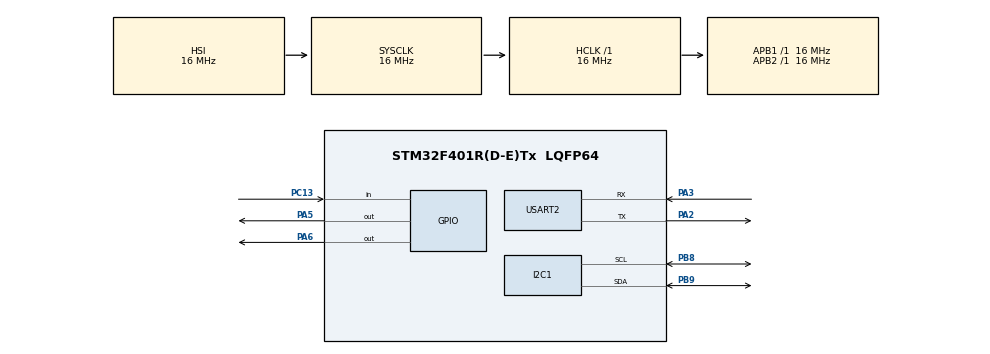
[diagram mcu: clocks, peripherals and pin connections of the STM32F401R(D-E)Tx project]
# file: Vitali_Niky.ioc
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Mcu.Family=STM32F4
Mcu.Name=STM32F401R(D-E)Tx
Mcu.Package=LQFP64
NVIC.PriorityGroup=NVIC_PRIORITYGROUP_4
PA2.Mode=Asynchronous
PA2.Signal=USART2_TX
PA3.Mode=Asynchronous
PA3.Signal=USART2_RX
PA5.Signal=GPIO_Output
PA6.Signal=GPIO_Output
PB8.Mode=I2C
PB8.Signal=I2C1_SCL
PB9.Mode=I2C
PB9.Signal=I2C1_SDA
PC13-ANTI_TAMP.Signal=GPIO_Input
ProjectManager.HeapSize=0x200
ProjectManager.StackSize=0x400
ProjectManager.TargetToolchain=STM32CubeIDE
RCC.AHBFreq_Value=16000000
RCC.APB1Freq_Value=16000000
RCC.APB2Freq_Value=16000000
RCC.CortexFreq_Value=16000000
RCC.HSE_VALUE=25000000
RCC.HSI_VALUE=16000000
RCC.LSE_VALUE=32768
RCC.SYSCLKFreq_VALUE=16000000
RCC.VCOOutputFreq_Value=192000000
USART2.VirtualMode=VM_ASYNC
board=custom

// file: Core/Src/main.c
/* USER CODE BEGIN Header */
/**
  ******************************************************************************
  * @file           : main.c
  * @brief          : Main program body
  ******************************************************************************
  * @attention
  *
  * Copyright (c) 2025 STMicroelectronics.
  * All rights reserved.
  *
  * This software is licensed under terms that can be found in the LICENSE file
  * in the root directory of this software component.
  * If no LICENSE file comes with this software, it is provided AS-IS.
  *
  ******************************************************************************
  */
/* USER CODE END Header */
#include "main.h"

/* USER CODE BEGIN Includes */
#include <string.h>  // Per strcmp
//#include "morse_io_utils.h"
//#include "morse_utils.h"
#include "lcd_i2c.h"
#include "Morse.h"

/* USER CODE END Includes */

I2C_HandleTypeDef hi2c1;

UART_HandleTypeDef huart2;

/* USER CODE BEGIN PV */
/*DEFINIZIONE CASI SWITCH INIZIALE*/
typedef enum {
	STATO_DURATION = 0,
    STATO_SETTINGS,
    STATO_LETTERS_TO_MORSE,
    STATO_MORSE_TO_LETTERS
} StatoPrincipale;

/*DEFINIZIONE CASI SWITCH LETTER2MORSE*/
typedef enum {
    STATO_MENU = 0,
    STATO_MORSE_LED,
    STATO_MORSE_BUZZER,
    STATO_MORSE_LED_BUZZER,
    STATO_MORSE_LED_UART
} StatoMorse;

/*DEFINIZIONE CASI SWITCH MORSE2LETTER*/
typedef enum {
	STATO_SETTING_M2L = 0,
	STATO_NORMAL,
	STATO_DEBUG
}StatoM2L;

uint32_t now = 0;
/* *
 * QUI DEVO DARE LA POSSIBILITà DI MODIFICARE LA VELOCITA' DEL DOT
 * QUINDI METTERE UN PRIMO CASO DOVE IMPOSTO LA VELOCITA CONSIGLIATA TRA 100 E 200
 * POI PASSO ALLA TRASMISSIONE E TRADUZIONE
 * PREMENDO ESC DALLA UART TORNO PER LA SELEZIONE DELLA VELOCITA'
 * */

char comando[32];
uint8_t rx_byte;

/* USER CODE END PV */

void SystemClock_Config(void);
static void MX_GPIO_Init(void);
static void MX_I2C1_Init(void);
static void MX_USART2_UART_Init(void);
/* USER CODE BEGIN PFP */
void stato_morse_to_letter();
void stato_morse_to_letter_debug();
/* USER CODE END PFP */

int main(void)
{

  /* MCU Configuration--------------------------------------------------------*/

  /* Reset of all peripherals, Initializes the Flash interface and the Systick. */
  HAL_Init();

  /* Configure the system clock */
  SystemClock_Config();

  /* Initialize all configured peripherals */
  MX_GPIO_Init();
  MX_I2C1_Init();
  MX_USART2_UART_Init();
  /* USER CODE BEGIN 2 */

  StatoPrincipale stato_principale = STATO_DURATION;
  StatoMorse stato_corrente = STATO_MENU;
  StatoM2L stato_M2L = STATO_SETTING_M2L;

  lcd_init(&hi2c1);
  morse_init(&morse_ctx);
  lcd_clear();
  /* USER CODE END 2 */

  /* Infinite loop */
  while (1)
  {

    /* USER CODE BEGIN 3 */
	switch (stato_principale) {
	case STATO_DURATION:
		const char* welcome_msg =
		    "\r\n"
		    "=========================================\r\n"
		    "        MORSE CODE CONVERTER - STM32      \r\n"
		    "=========================================\r\n"
		    "This program allows you to:\r\n"
		    "- Convert letters to Morse code\r\n"
		    "- Decode Morse code into letters\r\n"
		    "- Display output via UART, LED, buzzer,\r\n"
		    "  and I2C 1602 LCD display\r\n"
		    "\r\n"
		    "You can interact via the UART terminal to:\r\n"
		    "- Choose the operating mode (input/output)\r\n"
		    "- Configure Morse signal speed (dot duration)\r\n"
		    "- Send letters or enter Morse using the button\r\n"
		    "\r\n";

		HAL_UART_Transmit(&huart2, (uint8_t*)welcome_msg, strlen(welcome_msg), HAL_MAX_DELAY);

		configura_dot_duration();

		stato_principale=STATO_SETTINGS;

	case STATO_SETTINGS:
			const char *prompt =
				"Select operation mode:\n\r"
					"1 = Letters -> Morse\n\r"
					"2 = Morse -> Letters\n\r";

			HAL_UART_Transmit(&huart2, (uint8_t*)prompt, strlen(prompt), HAL_MAX_DELAY);

			if (ricevi_comando_uart(comando)) {
				stato_principale = STATO_SETTINGS;
				break;
			}

			if (strcmp(comando, "1") == 0) {
				stato_principale = STATO_LETTERS_TO_MORSE;
				stato_corrente = STATO_MENU;  // enter in section LED/BUZZER
			} else if (strcmp(comando, "2") == 0) {
				stato_principale = STATO_MORSE_TO_LETTERS;
			} else {
				const char* msg = "Invalid Command\r\n";
				HAL_UART_Transmit(&huart2, (uint8_t*)msg, strlen(msg), HAL_MAX_DELAY);
			}
			break;//end case STATO_SETTINGS

/*************************OPERATION MODE LETTER 2 MORSE*****************************/
	case STATO_LETTERS_TO_MORSE:
		switch (stato_corrente) {
			case STATO_MENU:
				const char *menu =
					"Choose mode:\n\r"
					"1 = Only LED\n\r"
					"2 = Only Buzzer\n\r"
					"3 = LED + Buzzer\n\r"
					"4 = LED + UART\n\r";

				HAL_UART_Transmit(&huart2, (uint8_t*)menu, strlen(menu), HAL_MAX_DELAY);

				if (ricevi_comando_uart(comando)) {
					stato_principale = STATO_DURATION;
					break;
				}

				if (strcmp(comando, "1") == 0) 			stato_corrente = STATO_MORSE_LED;
				else if (strcmp(comando, "2") == 0)     stato_corrente = STATO_MORSE_BUZZER;
				else if (strcmp(comando, "3") == 0)     stato_corrente = STATO_MORSE_LED_BUZZER;
				else if (strcmp(comando, "4") == 0)     stato_corrente = STATO_MORSE_LED_UART;
				else					                stato_corrente = STATO_MENU;  // torna al menu stato 0 di suqesto switch
				break;//STATO_MENU

			case STATO_MORSE_LED:
				esegui_traduzione_morse(1, 0, 0);
				if (ricevi_comando_uart(comando)) {
					stato_principale = STATO_DURATION;
					break;
				}
				break;//STATO_MORSE_LED

			case STATO_MORSE_BUZZER:
				esegui_traduzione_morse(0, 1, 0);
				if (ricevi_comando_uart(comando)) {
					stato_principale = STATO_DURATION;
					break;
				}
				break;//STATO_MORSE_BUZZER:

			case STATO_MORSE_LED_BUZZER:
				esegui_traduzione_morse(1, 1, 0);
				if (ricevi_comando_uart(comando)) {
					stato_principale = STATO_DURATION;
					break;
				}
				break;//STATO_MORSE_LED_BUZZER:

			case STATO_MORSE_LED_UART:
				esegui_traduzione_morse(1, 0, 1);
				if (ricevi_comando_uart(comando)) {
					stato_principale = STATO_DURATION;
					break;
				}
				break;//STATO_MORSE_LED_UART
		}//switch (stato_corrente)
		break;//STATO_LETTERS_TO_MORSE

/***************************************************************************************************/
/*************************END OPERATION MODE LETTER 2 MORSE*****************************/
/***************************************************************************************************/

/******************************OPERATION MODE MORSE 2 LETTER******************************/
//	case STATO_MORSE_TO_LETTERS:
//		stato_morse_to_letter();
//		break;//STATO_MORSE_TO_LETTER

	case STATO_MORSE_TO_LETTERS:
		switch (stato_M2L){

			case STATO_SETTING_M2L:
				char menu[512];
				sprintf(menu,
				    "*********************************************\n\r"
				    "Info:\n\r"
				    "Press user_bottom to send a dot or a dash\n\r"
				    "Dot time < %lu ms\n\r"
				    "Dash and letter gap: %lu > time > %lu ms\n\r"
				    "Word end: %lu > time > %lu ms\n\r"
				    "End conversation wait for %lu ms\n\r"
				    "\n\r"
				    "Please now choose the operation mode: \n\r"
				    "Normal --> send only symbols\n\r"
				    "Debug  --> send symbols with their time\n\r"
				    "\n\r"
				    "Choose mode:\n\r"
				    "1 = Normal\n\r"
				    "2 = Debug\n\r",
				    dot_duration,
				    3 * dot_duration, 3 * dot_duration,
				    7 * dot_duration, 21 * dot_duration,
					21 * dot_duration
				);

				HAL_UART_Transmit(&huart2, (uint8_t*)menu, strlen(menu), HAL_MAX_DELAY);

				if (ricevi_comando_uart(comando)) {
					stato_principale = STATO_SETTINGS;
				break;
				}

				if (strcmp(comando, "1") == 0) 			stato_M2L = STATO_NORMAL;
				else if (strcmp(comando, "2") == 0)     stato_M2L = STATO_DEBUG;
				break;//STATO_SETTING_M2L

			case STATO_NORMAL:
				stato_morse_to_letter();
				break;//STATO_NORMAL

			case STATO_DEBUG:
				stato_morse_to_letter_debug();
//				stato_morse_to_letter();
			break;//STATO_NORMAL

			break;//STATO_MORSE_TO_LETTER
			}

	}//switch (stato_principale)

  }//END while (1)

  /* USER CODE END 3 */
}

void SystemClock_Config(void)
{
  RCC_OscInitTypeDef RCC_OscInitStruct = {0};
  RCC_ClkInitTypeDef RCC_ClkInitStruct = {0};

  /** Configure the main internal regulator output voltage
  */
  __HAL_RCC_PWR_CLK_ENABLE();
  __HAL_PWR_VOLTAGESCALING_CONFIG(PWR_REGULATOR_VOLTAGE_SCALE2);

  /** Initializes the RCC Oscillators according to the specified parameters
  * in the RCC_OscInitTypeDef structure.
  */
  RCC_OscInitStruct.OscillatorType = RCC_OSCILLATORTYPE_HSI;
  RCC_OscInitStruct.HSIState = RCC_HSI_ON;
  RCC_OscInitStruct.HSICalibrationValue = RCC_HSICALIBRATION_DEFAULT;
  RCC_OscInitStruct.PLL.PLLState = RCC_PLL_NONE;
  if (HAL_RCC_OscConfig(&RCC_OscInitStruct) != HAL_OK)
  {
    Error_Handler();
  }

  /** Initializes the CPU, AHB and APB buses clocks
  */
  RCC_ClkInitStruct.ClockType = RCC_CLOCKTYPE_HCLK|RCC_CLOCKTYPE_SYSCLK
                              |RCC_CLOCKTYPE_PCLK1|RCC_CLOCKTYPE_PCLK2;
  RCC_ClkInitStruct.SYSCLKSource = RCC_SYSCLKSOURCE_HSI;
  RCC_ClkInitStruct.AHBCLKDivider = RCC_SYSCLK_DIV1;
  RCC_ClkInitStruct.APB1CLKDivider = RCC_HCLK_DIV1;
  RCC_ClkInitStruct.APB2CLKDivider = RCC_HCLK_DIV1;

  if (HAL_RCC_ClockConfig(&RCC_ClkInitStruct, FLASH_LATENCY_0) != HAL_OK)
  {
    Error_Handler();
  }
}

static void MX_I2C1_Init(void)
{

  hi2c1.Instance = I2C1;
  hi2c1.Init.ClockSpeed = 100000;
  hi2c1.Init.DutyCycle = I2C_DUTYCYCLE_2;
  hi2c1.Init.OwnAddress1 = 0;
  hi2c1.Init.AddressingMode = I2C_ADDRESSINGMODE_7BIT;
  hi2c1.Init.DualAddressMode = I2C_DUALADDRESS_DISABLE;
  hi2c1.Init.OwnAddress2 = 0;
  hi2c1.Init.GeneralCallMode = I2C_GENERALCALL_DISABLE;
  hi2c1.Init.NoStretchMode = I2C_NOSTRETCH_DISABLE;
  if (HAL_I2C_Init(&hi2c1) != HAL_OK)
  {
    Error_Handler();
  }

}

static void MX_USART2_UART_Init(void)
{

  huart2.Instance = USART2;
  huart2.Init.BaudRate = 115200;
  huart2.Init.WordLength = UART_WORDLENGTH_8B;
  huart2.Init.StopBits = UART_STOPBITS_1;
  huart2.Init.Parity = UART_PARITY_NONE;
  huart2.Init.Mode = UART_MODE_TX_RX;
  huart2.Init.HwFlowCtl = UART_HWCONTROL_NONE;
  huart2.Init.OverSampling = UART_OVERSAMPLING_16;
  if (HAL_UART_Init(&huart2) != HAL_OK)
  {
    Error_Handler();
  }

}

static void MX_GPIO_Init(void)
{
  GPIO_InitTypeDef GPIO_InitStruct = {0};

  /* GPIO Ports Clock Enable */
  __HAL_RCC_GPIOC_CLK_ENABLE();
  __HAL_RCC_GPIOA_CLK_ENABLE();
  __HAL_RCC_GPIOB_CLK_ENABLE();

  /*Configure GPIO pin Output Level */
  HAL_GPIO_WritePin(GPIOA, GPIO_PIN_5|GPIO_PIN_6, GPIO_PIN_RESET);

  /*Configure GPIO pin : PC13 */
  GPIO_InitStruct.Pin = GPIO_PIN_13;
  GPIO_InitStruct.Mode = GPIO_MODE_INPUT;
  GPIO_InitStruct.Pull = GPIO_NOPULL;
  HAL_GPIO_Init(GPIOC, &GPIO_InitStruct);

  /*Configure GPIO pins : PA5 PA6 */
  GPIO_InitStruct.Pin = GPIO_PIN_5|GPIO_PIN_6;
  GPIO_InitStruct.Mode = GPIO_MODE_OUTPUT_PP;
  GPIO_InitStruct.Pull = GPIO_NOPULL;
  GPIO_InitStruct.Speed = GPIO_SPEED_FREQ_LOW;
  HAL_GPIO_Init(GPIOA, &GPIO_InitStruct);

}

/* USER CODE BEGIN 4 */

void stato_morse_to_letter(){
	  now = HAL_GetTick();
	  gestisci_inizio_pressione(&morse_ctx, now);
	  gestisci_fine_pressione(&morse_ctx, now);
	  gestisci_spaziatura(&morse_ctx, now);
	  invia_parola(&morse_ctx, now);

	  HAL_Delay(10);
}

void stato_morse_to_letter_debug(){
	  now = HAL_GetTick();
	  gestisci_inizio_pressione(&morse_ctx, now);
	  gestisci_fine_pressione_debug(&morse_ctx, now);
	  gestisci_spaziatura_debug(&morse_ctx, now);
	  invia_parola_debug(&morse_ctx, now);
	  HAL_Delay(10);
}
/* USER CODE END 4 */

void Error_Handler(void)
{
  __disable_irq();
  while (1)
  {
  }
}
